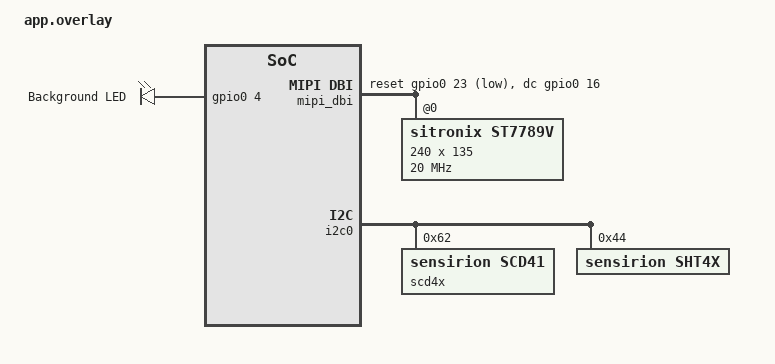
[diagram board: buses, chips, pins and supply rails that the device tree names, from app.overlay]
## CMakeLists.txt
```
# SPDX-License-Identifier: Apache-2.0

cmake_minimum_required(VERSION 3.20.0)

find_package(Zephyr REQUIRED HINTS $ENV{ZEPHYR_BASE})
project(lvgl)

FILE(GLOB app_sources src/*.c)
target_sources(app PRIVATE ${app_sources})

file(GLOB ui_image_sources src/ui/images/*.c)
target_sources(app PRIVATE ${ui_image_sources})

file(GLOB ui_sources src/ui/*.c)
target_sources(app PRIVATE ${ui_sources})

file(GLOB advertisement_sources src/advertisement/*.c)
target_sources(app PRIVATE ${advertisement_sources})

file(GLOB threads_sources src/threads/*.c)
target_sources(app PRIVATE ${threads_sources})
```

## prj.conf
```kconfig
CONFIG_LOG=y
CONFIG_SENSOR=y
CONFIG_GPIO=y
CONFIG_DISPLAY=y
CONFIG_BT=y
CONFIG_BT_DEVICE_NAME="S"

CONFIG_CBPRINTF_FP_SUPPORT=y

CONFIG_LVGL=y
CONFIG_LV_ATTRIBUTE_MEM_ALIGN_SIZE=4
CONFIG_LV_USE_FLOAT=y
CONFIG_LV_USE_LOG=y
CONFIG_LV_USE_LABEL=y
CONFIG_LV_USE_ARC=y
CONFIG_LV_USE_GRID=y
CONFIG_LV_FONT_MONTSERRAT_16=y
CONFIG_LV_FONT_MONTSERRAT_24=y
CONFIG_LV_COLOR_16_SWAP=y
CONFIG_LV_Z_MEM_POOL_SIZE=32768
```

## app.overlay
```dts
#include <zephyr/dt-bindings/mipi_dbi/mipi_dbi.h>

/ {
	aliases {
		led0 = &led0;
		co2 = &scd4x;
		rht = &sht4x;
	};

	chosen {
		zephyr,display = &st7789v;
	};

	leds {
		compatible = "gpio-leds";
		led0: led_0 {
			gpios = <&gpio0 4 GPIO_ACTIVE_HIGH>;
			label = "Background LED";
		};
	};

	mipi_dbi {
		compatible = "zephyr,mipi-dbi-spi";
		spi-dev = <&spi3>;
		dc-gpios = <&gpio0 16 GPIO_ACTIVE_HIGH>;
		reset-gpios = <&gpio0 23 GPIO_ACTIVE_LOW>;
		write-only;
		#address-cells = <1>;
		#size-cells = <0>;

		st7789v: st7789v@0 {
			compatible = "sitronix,st7789v";
			reg = <0>;
			mipi-max-frequency = <20000000>;

			width = <240>;
			height = <135>;
			x-offset = <40>;
			y-offset = <52>;

			vcom = <0x28>;
			gctrl = <0x35>;
			vrhs = <0x10>;
			vdvs = <0x20>;
			mdac = <0xA8>;
			gamma = <0x01>;
			colmod = <0x55>;
			lcm = <0x0c>;
			porch-param = [ 0c 0c 00 33 33  ];
			cmd2en-param = [ 5a 69 02 01  ];
			pwctrl1-param = [ a4 a1  ];
			pvgam-param = [ d0 00 02 07 0a 28 32 44 42 06 0e 12 14 17  ];
			nvgam-param = [ d0 00 02 07 0a 28 31 54 47 0e 1c 17 1b 1e  ];
			ram-param = [ 00 E0  ];
			rgb-param = [ CD 08 14  ];
			mipi-mode = "MIPI_DBI_MODE_SPI_4WIRE";
		};
	};
};

&pinctrl {
	spim3_default: spim3_default {
		group1 {
			pinmux = <SPIM3_SCLK_GPIO18>,
					 <SPIM3_CSEL_GPIO5>;
		};
		group2 {
			pinmux = <SPIM3_MOSI_GPIO19>;
			output-low;
		};
	};
};

&i2c0 {
	status = "okay";
	scd4x: scd4x@62 {
		status = "okay";
		compatible = "sensirion,scd41";
		reg = <0x62>;
		mode = <0>;
	};

	sht4x: sht4x@44 {
		status = "okay";
		compatible = "sensirion,sht4x";
		reg = <0x44>;
		repeatability = <2>;
	};
};
```

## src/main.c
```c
#include <zephyr/kernel.h>
#include <zephyr/logging/log.h>
#include <zephyr/sys/printk.h>

#include "threads/threads.h"
#include "advertisement/advertisement.h"

#if !DT_NODE_EXISTS(DT_ALIAS(co2))
#error "co2 alias not found in device tree"
#endif

#if !DT_NODE_EXISTS(DT_ALIAS(rht))
#error "rht alias not found in device tree"
#endif

LOG_MODULE_REGISTER(app);

K_THREAD_DEFINE(scd_id, STACKSIZE_DEFAULT, scd, NULL, NULL, NULL,
				PRIORITY, 0, 500);
K_THREAD_DEFINE(sht_id, STACKSIZE_DEFAULT, sht, NULL, NULL, NULL,
				PRIORITY, 0, 500);
K_THREAD_DEFINE(display_id, STACKSIZE_DISPLAY, display, NULL, NULL, NULL,
				PRIORITY, 0, 3000);

int main(void)
{
	printk("Starting application...\n");

	const struct device *i2c_dev = DEVICE_DT_GET(DT_NODELABEL(i2c0)); // Adjust based on your I2C bus
	if (!device_is_ready(i2c_dev))
	{
		printk("I2C bus not ready!\n");
		return -ENODEV;
	}
	advertising_start();

	return 0;
}
```

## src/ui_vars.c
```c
#include "ui/vars.h"

static int32_t co2_val = 0;
static double temp_val = 0;
static double humi_val = 0;

int32_t get_var_co2_val()
{
  return co2_val;
}

void set_var_co2_val(int32_t value)
{
  co2_val = value;
}

double get_var_temp_val()
{
  return temp_val;
}

void set_var_temp_val(double value)
{
  temp_val = value;
}

double get_var_humi_val()
{
  return humi_val;
}

void set_var_humi_val(double value)
{
  humi_val = value;
}
```
